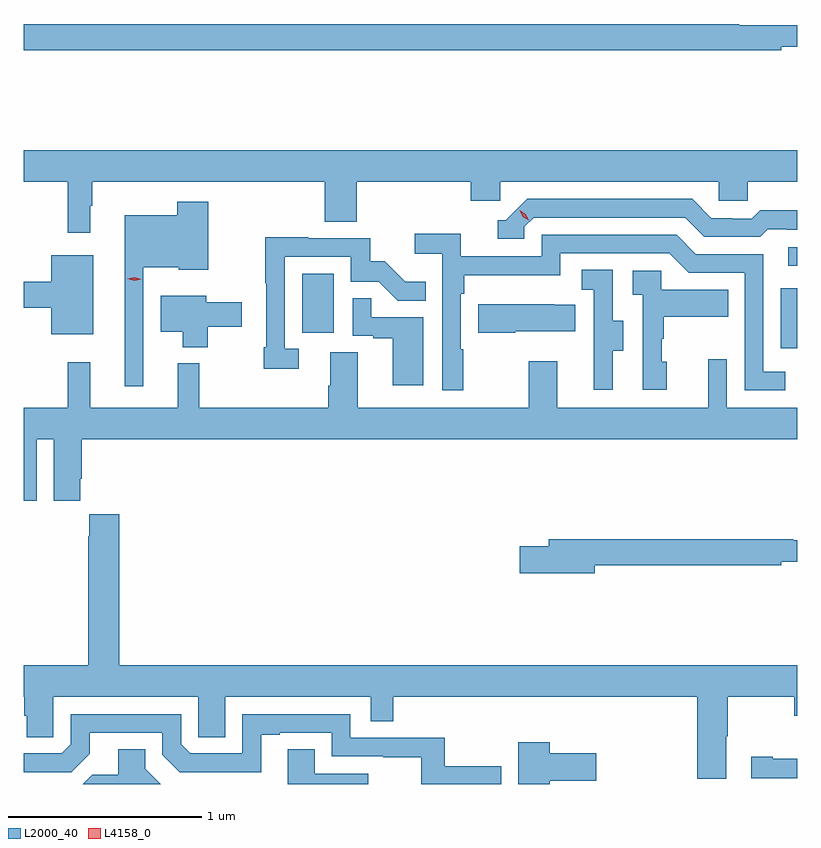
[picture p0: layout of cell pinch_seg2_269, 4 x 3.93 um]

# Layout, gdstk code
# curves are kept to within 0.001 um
import gdstk
lib = gdstk.Library(unit=1e-6, precision=1e-09)
def R(c, l, rs):  # rectangles x0, y0, x1, y1
    for r in rs: c.add(gdstk.rectangle(r[:2], r[2:], *l))
def P(c, l, *ps):  # polygons
    for p in ps: c.add(gdstk.Polygon(p, *l))
L2000_40 = (2000, 40)
L4158_0 = (4158, 0)

pinch_seg2_269 = lib.new_cell('pinch_seg2_269')
R(pinch_seg2_269, L2000_40, [(908.166,646.776,908.251,647.086), (905.69,646.854,905.854,647.161), (908.205,647.202,908.251,647.298)])
P(pinch_seg2_269, L2000_40, [(908.168,648.335),(908.251,648.335),(908.251,648.445),(907.952,648.445),(907.952,648.452),(904.251,648.452),(904.251,648.316),(908.168,648.316)],
  [(904.594,647.513),(904.606,647.513),(904.606,647.636),(905.807,647.636),(905.807,647.428),(905.972,647.428),(905.972,647.636),(906.563,647.636),(906.563,647.538),(906.714,647.538),(906.714,647.636),(907.845,647.636),(907.845,647.538),(907.995,647.538),(907.995,647.636),(908.251,647.636),(908.251,647.8),(904.251,647.8),(904.251,647.636),(904.477,647.636),(904.477,647.373),(904.594,647.373)],
  [(906.84,647.403),(906.888,647.451),(907.671,647.451),(907.77,647.352),(908.059,647.352),(908.098,647.391),(908.197,647.391),(908.197,647.388),(908.251,647.388),(908.251,647.488),(908.059,647.488),(908.017,647.445),(907.914,647.445),(907.914,647.448),(907.807,647.448),(907.708,647.547),(906.855,647.547),(906.744,647.436),(906.701,647.436),(906.701,647.34),(906.84,647.34)],
  [(904.869,647.195),(905.052,647.195),(905.052,647.18),(905.206,647.18),(905.206,647.533),(905.045,647.533),(905.045,647.464),(904.772,647.464),(904.772,646.578),(904.869,646.578)],
  [(906.523,646.769),(906.51,646.769),(906.51,647.057),(906.53,647.057),(906.53,647.153),(907.026,647.153),(907.026,647.265),(907.59,647.265),(907.689,647.166),(907.98,647.166),(907.98,646.557),(908.189,646.557),(908.189,646.653),(908.076,646.653),(908.076,647.262),(907.726,647.262),(907.627,647.361),(906.93,647.361),(906.93,647.25),(906.512,647.25),(906.512,647.366),(906.273,647.366),(906.273,647.264),(906.414,647.264),(906.414,646.557),(906.523,646.557)],
  [(905.674,646.773),(905.601,646.773),(905.601,647.247),(905.943,647.247),(905.943,647.118),(906.087,647.118),(906.185,647.02),(906.329,647.02),(906.329,647.119),(906.225,647.119),(906.118,647.226),(906.042,647.226),(906.042,647.343),(905.723,647.343),(905.723,647.348),(905.5,647.348),(905.5,647.11),(905.505,647.11),(905.505,646.78),(905.493,646.78),(905.493,646.668),(905.674,646.668)],
  [(904.609,647.257),(904.394,647.257),(904.394,647.12),(904.251,647.12),(904.251,646.984),(904.394,646.984),(904.394,646.847),(904.609,646.847)],
  [(907.297,646.762),(907.351,646.762),(907.351,646.917),(907.296,646.917),(907.296,647.18),(907.137,647.18),(907.137,647.077),(907.2,647.077),(907.2,646.773),(907.199,646.773),(907.199,646.56),(907.297,646.56)],
  [(907.576,646.704),(907.551,646.704),(907.551,646.823),(907.561,646.823),(907.561,646.937),(907.895,646.937),(907.895,647.077),(907.548,647.077),(907.548,647.175),(907.401,647.175),(907.401,647.051),(907.452,647.051),(907.452,646.56),(907.576,646.56)],
  [(905.202,646.885),(905.377,646.885),(905.377,647.014),(905.194,647.014),(905.194,647.047),(904.958,647.047),(904.958,646.859),(905.072,646.859),(905.072,646.781),(905.202,646.781)],
  [(906.316,646.935),(906.047,646.935),(906.047,647.033),(905.952,647.033),(905.952,646.839),(906.059,646.839),(906.059,646.827),(906.158,646.827),(906.158,646.584),(906.316,646.584)],
  [(906.793,646.862),(907.103,646.862),(907.103,646.999),(906.995,646.999),(906.995,647.002),(906.602,647.002),(906.602,646.855),(906.793,646.855)],
  [(904.318,646.304),(904.406,646.304),(904.406,645.987),(904.543,645.987),(904.543,646.099),(904.55,646.099),(904.55,646.304),(908.251,646.304),(908.251,646.468),(907.887,646.468),(907.887,646.717),(907.79,646.717),(907.79,646.468),(907.009,646.468),(907.009,646.708),(906.862,646.708),(906.862,646.468),(905.977,646.468),(905.977,646.754),(905.837,646.754),(905.837,646.58),(905.825,646.58),(905.825,646.468),(905.158,646.468),(905.158,646.696),(905.048,646.696),(905.048,646.468),(904.595,646.468),(904.595,646.702),(904.477,646.702),(904.477,646.468),(904.251,646.468),(904.251,645.987),(904.318,645.987)],
  [(905.154,644.764),(905.293,644.764),(905.293,644.972),(906.045,644.972),(906.045,644.845),(906.161,644.845),(906.161,644.972),(907.733,644.972),(907.733,644.547),(907.885,644.547),(907.885,644.768),(907.893,644.768),(907.893,644.972),(908.236,644.972),(908.236,644.873),(908.251,644.873),(908.251,645.136),(904.745,645.136),(904.745,645.916),(904.589,645.916),(904.589,645.803),(904.585,645.803),(904.585,645.136),(904.251,645.136),(904.251,644.972),(904.253,644.972),(904.253,644.874),(904.267,644.874),(904.267,644.764),(904.404,644.764),(904.404,644.972),(905.154,644.972)],
  [(907.204,645.652),(908.168,645.652),(908.168,645.671),(908.251,645.671),(908.251,645.781),(908.231,645.781),(908.231,645.788),(906.965,645.788),(906.965,645.752),(906.816,645.752),(906.816,645.61),(907.204,645.61)],
  [(906.72,644.614),(906.427,644.614),(906.427,644.76),(905.94,644.76),(905.94,644.883),(905.382,644.883),(905.382,644.679),(905.112,644.679),(905.064,644.727),(905.064,644.883),(904.494,644.883),(904.494,644.727),(904.446,644.679),(904.251,644.679),(904.251,644.583),(904.497,644.583),(904.591,644.677),(904.591,644.787),(904.968,644.787),(904.968,644.673),(905.058,644.583),(905.479,644.582),(905.479,644.775),(905.575,644.775),(905.575,644.787),(905.844,644.787),(905.844,644.664),(906.109,644.664),(906.109,644.659),(906.306,644.659),(906.306,644.521),(906.72,644.521)],
  [(906.97,644.537),(907.213,644.537),(907.213,644.679),(906.97,644.679),(906.97,644.737),(906.809,644.737),(906.809,644.521),(906.97,644.521)],
  [(906.032,644.574),(905.755,644.574),(905.755,644.702),(905.615,644.702),(905.615,644.521),(906.032,644.521)],
  [(904.879,644.6),(904.879,644.702),(904.739,644.702),(904.739,644.57),(904.604,644.57),(904.555,644.521),(904.958,644.521)],
  [(908.251,644.652),(908.125,644.652),(908.125,644.662),(908.013,644.662),(908.013,644.552),(908.251,644.552)])
P(pinch_seg2_269, L4158_0, [(906.863,647.436),(906.832,647.455),(906.815,647.487),(906.815,647.488),(906.815,647.488),(906.846,647.468),(906.863,647.436),(906.863,647.436)],
  [(904.822,647.123),(904.787,647.135),(904.787,647.135),(904.787,647.135),(904.824,647.143),(904.858,647.131),(904.859,647.131),(904.858,647.131)])

lib.write_gds('pinch_seg2_269.gds')
